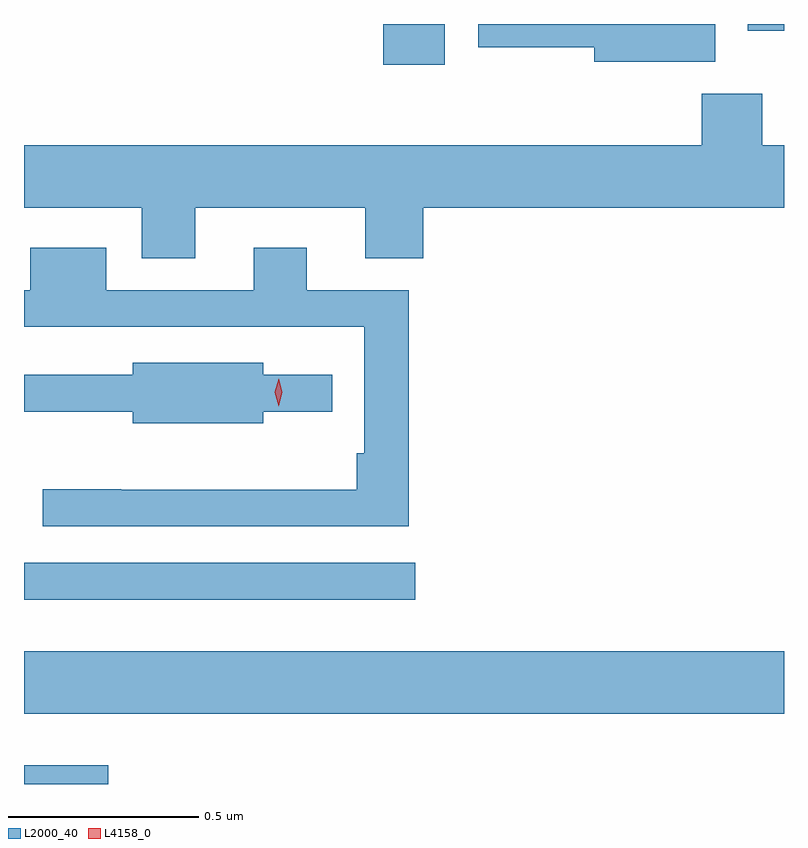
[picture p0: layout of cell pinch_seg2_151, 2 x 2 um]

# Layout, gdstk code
import gdstk
lib = gdstk.Library(unit=1e-6, precision=1e-09)
def R(c, l, rs):  # rectangles x0, y0, x1, y1
    for r in rs: c.add(gdstk.rectangle(r[:2], r[2:], *l))
def P(c, l, *ps):  # polygons
    for p in ps: c.add(gdstk.Polygon(p, *l))
L2000_40 = (2000, 40)
L4158_0 = (4158, 0)

pinch_seg2_151 = lib.new_cell('pinch_seg2_151')
R(pinch_seg2_151, L2000_40, [(1114.57,636.795,1114.792,636.844), (1114.57,636.98,1116.57,637.144), (1114.57,637.28,1115.599,637.377), (1115.516,638.688,1115.677,638.795), (1116.474,638.777,1116.57,638.795)])
P(pinch_seg2_151, L2000_40, [(1116.389,638.795),(1115.766,638.795),(1115.766,638.734),(1116.071,638.734),(1116.071,638.696),(1116.389,638.696)],
  [(1115.02,638.312),(1115.468,638.312),(1115.468,638.179),(1115.621,638.179),(1115.621,638.312),(1116.57,638.312),(1116.57,638.476),(1116.513,638.476),(1116.513,638.611),(1116.353,638.611),(1116.353,638.476),(1114.57,638.476),(1114.57,638.312),(1114.88,638.312),(1114.88,638.179),(1115.02,638.179)],
  [(1115.582,638.094),(1115.314,638.094),(1115.314,638.206),(1115.174,638.206),(1115.174,638.094),(1114.786,638.094),(1114.786,638.206),(1114.586,638.206),(1114.586,638.094),(1114.57,638.094),(1114.57,637.998),(1115.466,637.998),(1115.466,637.666),(1115.446,637.666),(1115.446,637.57),(1114.826,637.57),(1114.826,637.571),(1114.619,637.571),(1114.619,637.473),(1115.582,637.473)],
  [(1115.2,637.775),(1115.381,637.775),(1115.381,637.872),(1115.2,637.872),(1115.2,637.903),(1114.856,637.903),(1114.856,637.872),(1114.57,637.872),(1114.57,637.775),(1114.856,637.775),(1114.856,637.745),(1115.2,637.745)])
P(pinch_seg2_151, L4158_0, [(1115.24,637.789),(1115.24,637.789),(1115.23,637.826),(1115.24,637.861),(1115.24,637.862),(1115.24,637.861),(1115.25,637.826),(1115.24,637.789)])

lib.write_gds('pinch_seg2_151.gds')
